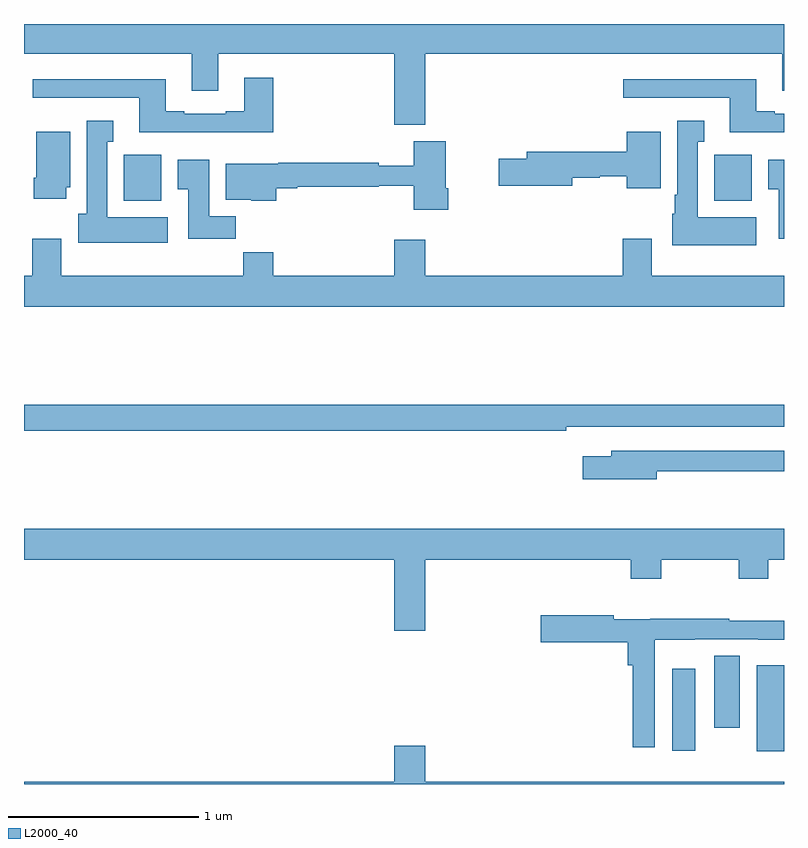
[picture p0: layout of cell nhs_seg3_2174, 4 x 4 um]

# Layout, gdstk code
import gdstk
lib = gdstk.Library(unit=1e-6, precision=1e-09)
def R(c, l, rs):  # rectangles x0, y0, x1, y1
    for r in rs: c.add(gdstk.rectangle(r[:2], r[2:], *l))
def P(c, l, *ps):  # polygons
    for p in ps: c.add(gdstk.Polygon(p, *l))
L2000_40 = (2000, 40)

nhs_seg3_2174 = lib.new_cell('nhs_seg3_2174')
R(nhs_seg3_2174, L2000_40, [(226.856,702.573,227,703.024), (226.412,702.576,226.534,703.006), (226.634,702.696,226.768,703.076), (223.526,705.47,223.723,705.712), (226.634,705.47,226.831,705.712)])
P(nhs_seg3_2174, L2000_40, [(225.112,706.244),(226.991,706.244),(226.991,706.05),(227,706.05),(227,706.4),(223,706.4),(223,706.244),(223.883,706.244),(223.883,706.05),(224.023,706.05),(224.023,706.244),(224.948,706.244),(224.948,705.87),(225.112,705.87)],
  [(224.312,706.117),(224.159,706.117),(224.159,705.94),(224.063,705.94),(224.063,705.927),(223.843,705.927),(223.843,705.94),(223.747,705.94),(223.747,706.108),(223.047,706.108),(223.047,706.011),(223.607,706.011),(223.607,705.83),(224.312,705.83)],
  [(227,705.927),(226.951,705.927),(226.951,705.94),(226.855,705.94),(226.855,706.108),(226.155,706.108),(226.155,706.011),(226.715,706.011),(226.715,705.83),(227,705.83)],
  [(226.855,705.382),(226.546,705.382),(226.546,705.779),(226.579,705.779),(226.579,705.892),(226.439,705.892),(226.439,705.502),(226.424,705.502),(226.424,705.402),(226.412,705.402),(226.412,705.236),(226.855,705.236)],
  [(223.756,705.382),(223.438,705.382),(223.438,705.779),(223.471,705.779),(223.471,705.892),(223.331,705.892),(223.331,705.402),(223.286,705.402),(223.286,705.248),(223.756,705.248)],
  [(226.351,705.832),(226.172,705.832),(226.172,705.728),(225.647,705.728),(225.647,705.692),(225.498,705.692),(225.498,705.55),(225.886,705.55),(225.886,705.592),(226.029,705.592),(226.029,705.6),(226.172,705.6),(226.172,705.536),(226.351,705.536)],
  [(223.222,705.54),(223.243,705.54),(223.243,705.832),(223.064,705.832),(223.064,705.592),(223.052,705.592),(223.052,705.48),(223.222,705.48)],
  [(225.233,705.535),(225.22,705.535),(225.22,705.784),(225.05,705.784),(225.05,705.653),(224.866,705.653),(224.866,705.671),(224.339,705.671),(224.339,705.664),(224.063,705.664),(224.063,705.476),(224.196,705.476),(224.196,705.47),(224.327,705.47),(224.327,705.535),(224.439,705.535),(224.439,705.543),(224.866,705.543),(224.866,705.55),(225.05,705.55),(225.05,705.423),(225.233,705.423)],
  [(224.114,705.388),(223.975,705.388),(223.975,705.685),(223.808,705.685),(223.808,705.529),(223.865,705.529),(223.865,705.27),(224.114,705.27)],
  [(227,705.685),(226.916,705.685),(226.916,705.529),(226.973,705.529),(226.973,705.27),(227,705.27)],
  [(227,705.076),(226.303,705.076),(226.303,705.271),(226.151,705.271),(226.151,705.076),(225.112,705.076),(225.112,705.265),(224.948,705.265),(224.948,705.076),(224.312,705.076),(224.312,705.2),(224.155,705.2),(224.155,705.076),(223.195,705.076),(223.195,705.271),(223.043,705.271),(223.043,705.076),(223,705.076),(223,704.912),(227,704.912)],
  [(225.854,704.28),(227,704.28),(227,704.396),(223,704.396),(223,704.26),(225.854,704.26)],
  [(226.33,704.046),(227,704.046),(227,704.154),(226.091,704.154),(226.091,704.125),(225.942,704.125),(225.942,704.003),(226.33,704.003)],
  [(225.112,703.58),(226.193,703.58),(226.193,703.481),(226.353,703.481),(226.353,703.58),(226.762,703.58),(226.762,703.481),(226.917,703.481),(226.917,703.58),(227,703.58),(227,703.744),(223,703.744),(223,703.58),(224.948,703.58),(224.948,703.206),(225.112,703.206)],
  [(226.32,703.16),(226.53,703.16),(226.53,703.161),(226.864,703.161),(226.864,703.16),(227,703.16),(227,703.26),(226.712,703.26),(226.712,703.27),(226.296,703.27),(226.296,703.267),(226.104,703.267),(226.104,703.287),(225.72,703.287),(225.72,703.145),(226.178,703.145),(226.178,703.025),(226.204,703.025),(226.204,702.594),(226.32,702.594)],
  [(227,702.412),(225.112,702.412),(225.112,702.601),(224.948,702.601),(224.948,702.412),(223,702.412),(223,702.4),(227,702.4)])

lib.write_gds('nhs_seg3_2174.gds')
